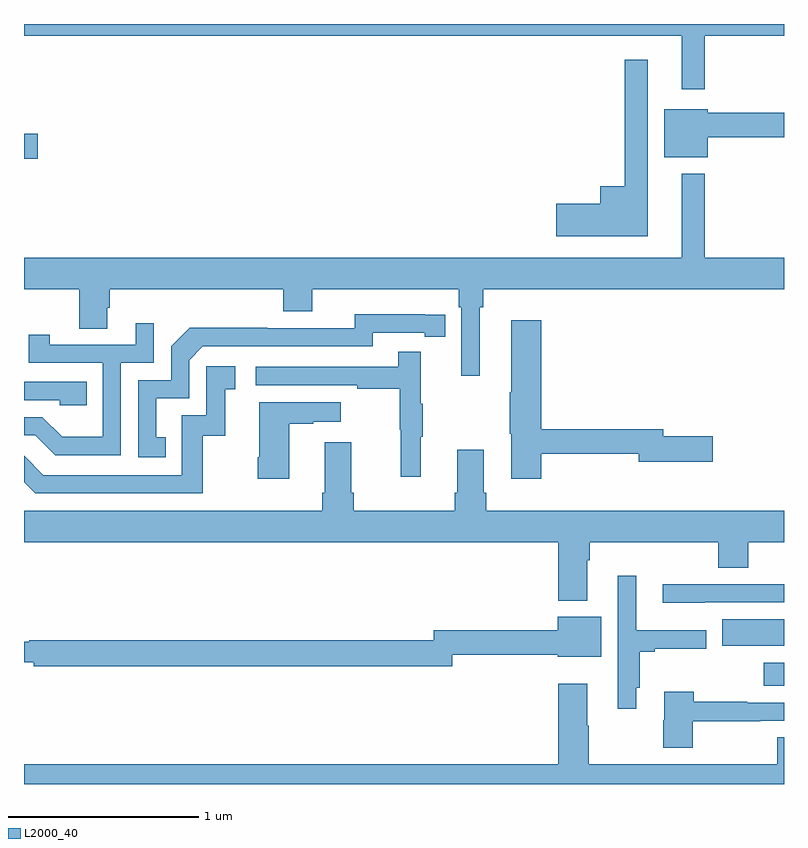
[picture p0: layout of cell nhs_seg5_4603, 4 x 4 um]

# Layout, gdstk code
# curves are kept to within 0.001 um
import gdstk
lib = gdstk.Library(unit=1e-6, precision=1e-09)
def R(c, l, rs):  # rectangles x0, y0, x1, y1
    for r in rs: c.add(gdstk.rectangle(r[:2], r[2:], *l))
def P(c, l, *ps):  # polygons
    for p in ps: c.add(gdstk.Polygon(p, *l))
L2000_40 = (2000, 40)

nhs_seg5_4603 = lib.new_cell('nhs_seg5_4603')
R(nhs_seg5_4603, L2000_40, [(384.894,877.317,385,877.438), (384.676,877.526,385,877.666), (381,880.091,381.073,880.221)])
P(nhs_seg5_4603, L2000_40, [(384.583,880.736),(385,880.736),(385,880.799),(381,880.799),(381,880.736),(384.461,880.736),(384.461,880.455),(384.583,880.455)],
  [(384.283,880.612),(384.162,880.612),(384.162,879.946),(384.032,879.946),(384.032,879.854),(383.802,879.854),(383.802,879.683),(384.283,879.683)],
  [(384.598,880.204),(385,880.204),(385,880.333),(384.598,880.333),(384.598,880.351),(384.371,880.351),(384.371,880.097),(384.598,880.097)],
  [(383.398,879.308),(383.417,879.308),(383.417,879.404),(385,879.404),(385,879.568),(384.583,879.568),(384.583,880.012),(384.461,880.012),(384.461,879.568),(381,879.568),(381,879.404),(381.292,879.404),(381.292,879.196),(381.439,879.196),(381.439,879.306),(381.452,879.306),(381.452,879.404),(382.364,879.404),(382.364,879.287),(382.516,879.287),(382.516,879.404),(383.288,879.404),(383.288,879.308),(383.301,879.308),(383.301,878.949),(383.398,878.949)],
  [(381.746,878.625),(381.697,878.625),(381.697,878.829),(381.87,878.829),(381.87,879.03),(381.942,879.102),(382.836,879.102),(382.836,879.174),(383.108,879.174),(383.108,879.154),(383.216,879.154),(383.216,879.27),(382.74,879.271),(382.74,879.198),(382.28,879.198),(382.28,879.2),(381.872,879.2),(381.774,879.102),(381.774,878.925),(381.6,878.925),(381.6,878.52),(381.746,878.52)],
  [(383.723,878.538),(384.236,878.538),(384.236,878.495),(384.625,878.495),(384.625,878.63),(384.364,878.63),(384.364,878.666),(383.723,878.666),(383.723,879.241),(383.564,879.241),(383.564,878.861),(383.557,878.861),(383.557,878.643),(383.564,878.643),(383.564,878.406),(383.723,878.406)],
  [(381.51,879.015),(381.684,879.015),(381.684,879.223),(381.587,879.223),(381.587,879.111),(381.136,879.111),(381.136,879.163),(381.025,879.163),(381.025,879.015),(381.414,879.015),(381.414,878.626),(381.2,878.626),(381.096,878.73),(381,878.73),(381,878.634),(381.059,878.634),(381.164,878.529),(381.51,878.529)],
  [(383.087,878.627),(383.098,878.627),(383.098,878.801),(383.087,878.801),(383.087,879.073),(382.969,879.073),(382.969,878.994),(382.221,878.994),(382.221,878.898),(382.753,878.898),(382.753,878.878),(382.977,878.878),(382.977,878.664),(382.984,878.664),(382.984,878.415),(383.087,878.415)],
  [(381.94,878.631),(382.058,878.631),(382.058,878.877),(382.111,878.877),(382.111,878.998),(381.96,878.998),(381.96,878.739),(381.831,878.739),(381.831,878.424),(381.102,878.424),(381,878.526),(381,878.388),(381.06,878.328),(381.94,878.328)],
  [(381.329,878.916),(381,878.916),(381,878.82),(381.189,878.82),(381.189,878.793),(381.329,878.793)],
  [(382.396,878.695),(382.523,878.695),(382.523,878.705),(382.666,878.705),(382.666,878.809),(382.238,878.809),(382.238,878.518),(382.231,878.518),(382.231,878.406),(382.396,878.406)],
  [(383.965,877.976),(383.978,877.976),(383.978,878.072),(384.653,878.072),(384.653,877.936),(384.813,877.936),(384.813,878.072),(385,878.072),(385,878.236),(383.432,878.236),(383.432,878.332),(383.419,878.332),(383.419,878.557),(383.279,878.557),(383.279,878.332),(383.267,878.332),(383.267,878.236),(382.736,878.236),(382.736,878.332),(382.723,878.332),(382.723,878.599),(382.583,878.599),(382.583,878.332),(382.571,878.332),(382.571,878.236),(381,878.236),(381,878.072),(383.813,878.072),(383.813,877.763),(383.965,877.763)],
  [(384.223,877.306),(384.242,877.306),(384.242,877.496),(384.319,877.496),(384.319,877.51),(384.591,877.51),(384.591,877.609),(384.223,877.609),(384.223,877.894),(384.126,877.894),(384.126,877.415),(384.125,877.415),(384.125,877.194),(384.223,877.194)],
  [(384.582,877.755),(385,877.755),(385,877.851),(384.363,877.851),(384.363,877.754),(384.582,877.754)],
  [(383.253,877.48),(383.81,877.48),(383.81,877.469),(384.037,877.469),(384.037,877.678),(383.81,877.678),(383.81,877.609),(383.157,877.609),(383.157,877.556),(381.028,877.556),(381.028,877.549),(381,877.549),(381,877.439),(381.052,877.439),(381.052,877.42),(383.253,877.42)],
  [(385,877.046),(384.964,877.046),(384.964,876.904),(383.973,876.904),(383.973,877.106),(383.965,877.106),(383.965,877.327),(383.813,877.327),(383.813,876.904),(381,876.904),(381,876.799),(385,876.799)],
  [(384.519,877.129),(384.875,877.129),(384.875,877.131),(385,877.131),(385,877.227),(384.806,877.227),(384.806,877.232),(384.524,877.232),(384.524,877.285),(384.371,877.285),(384.371,877.134),(384.364,877.134),(384.364,876.99),(384.519,876.99)])

lib.write_gds('nhs_seg5_4603.gds')
